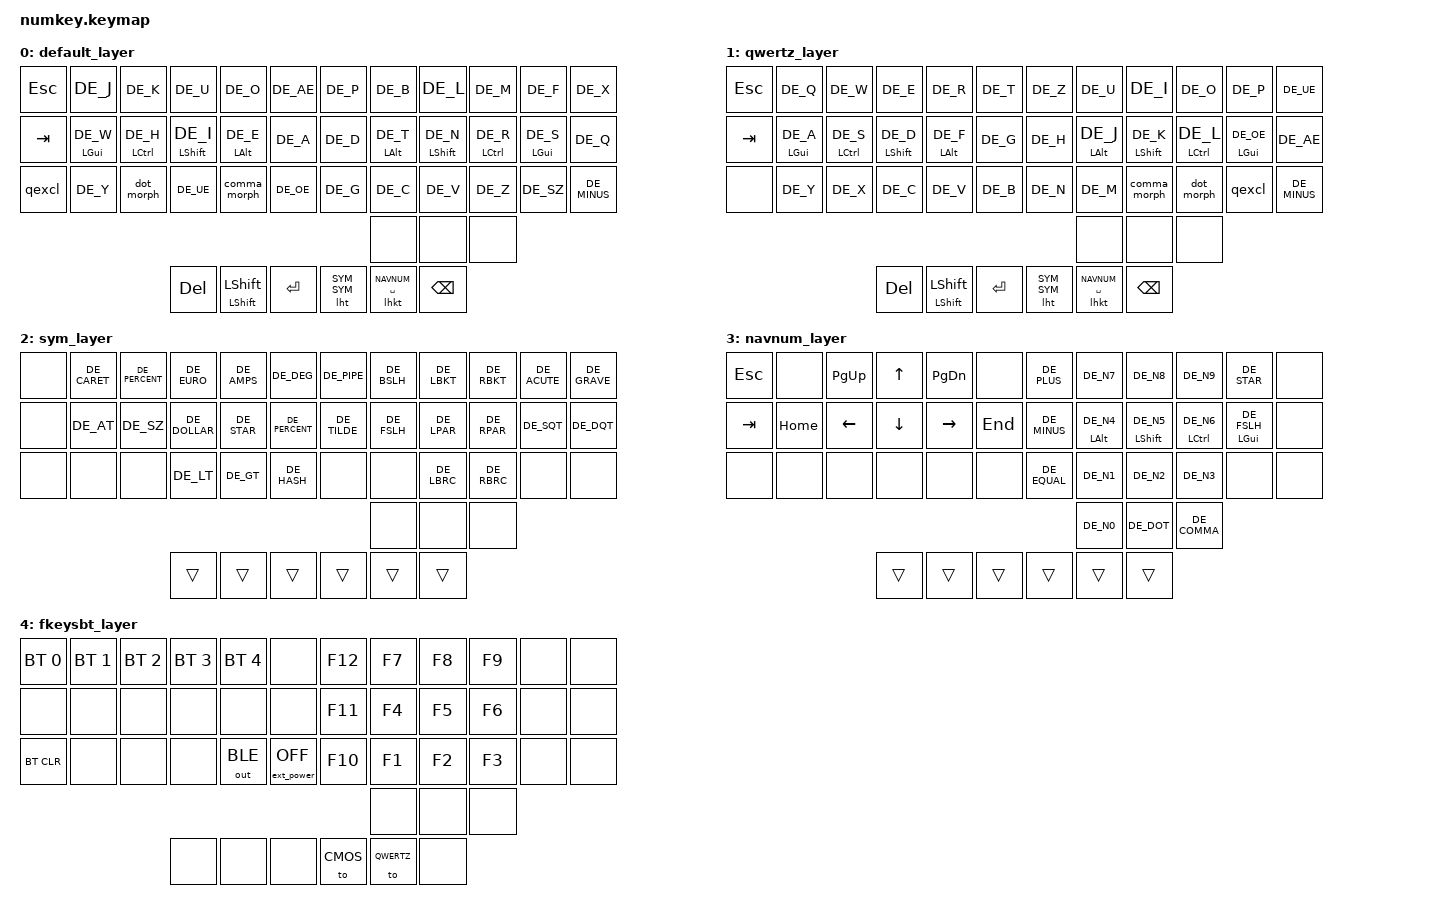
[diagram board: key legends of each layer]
/*trigger rebuild*/
#include <behaviors.dtsi>
#include <dt-bindings/zmk/bt.h>
#include <dt-bindings/zmk/ext_power.h>
#include <dt-bindings/zmk/outputs.h>
#include <dt-bindings/zmk/keys.h>

#ifndef KEYMAP_DRAWER
#include "keys_de.h"
#endif

#include "zmk-helpers/helper.h"
#include "numkey.h"

/* layer and key shortcuts */

#define ___ &trans
#define xxx &none

#define CMOS 0// layer shortcuts, must match order in which they are defined below
#define QWERTZ 1
#define SYM 2
#define NAVNUM 3
#define FKEYBT 4

/*Trigger Draw*/

/* custom behaviors */

/* Global settings */

#define QUICK_TAP_MS 175

&sk {  // sticky-key config
    release-after-ms = <3000>;  // release after 3s
    quick-release;             // no double capitalization when rolling keys
};

&sl {  // sticky-layer config
    release-after-ms = <3000>;
    ignore-modifiers;          // allow chording sticky mods & layers
};

&lt {  // layer-tap config
    flavor = "balanced";
    tapping-term-ms = <200>;
    quick-tap-ms = <QUICK_TAP_MS>;
};

/* Homerow mods */

#define KEYS_L LT0 LT1 LT2 LT3 LT4 LT5 LM0 LM1 LM2 LM3 LM4 LM5 LB0 LB1 LB2 LB3 LB4 LB5  // left hand
#define KEYS_R RT0 RT1 RT2 RT3 RT4 RT5 RM0 RM1 RM2 RM3 RM4 RM5 RB0 RB1 RB2 RB3 RB4 RB5 RN1 RN2 RN3// right hand
#define THUMBS LH2 LH1 LH0 RH0 RH1 RH2                                      // thumbs

ZMK_HOLD_TAP(hml,
    flavor = "balanced";
    tapping-term-ms = <200>;
    require-prior-idle-ms = <150>;
    hold-trigger-key-positions = <KEYS_R THUMBS>;
    hold-trigger-on-release;
    bindings = <&kp>, <&kp>;
)

ZMK_HOLD_TAP(hmr,
    flavor = "balanced";
    tapping-term-ms = <200>;
    require-prior-idle-ms = <150>;
    hold-trigger-key-positions = <KEYS_L THUMBS>;
    hold-trigger-on-release;
    bindings = <&kp>, <&kp>;
)

// tap: lht SYM SYM | double-tap: delete
ZMK_TAP_DANCE(sym_del,
    tapping-term-ms = <200>;
    bindings = <&lht SYM SYM>, <&kp DEL>;
)

/* Key Mods */

// tap: copy | double-tap: cut
ZMK_TAP_DANCE(copy_cut,
    tapping-term-ms = <200>;
    bindings = <&kp LC(INS)>, <&kp LC(X)>;
)

// tap: sticky key| hold: keypress
ZMK_BEHAVIOR(ht, hold_tap,
    flavor = "balanced";
    tapping-term-ms = <200>;
    quick-tap-ms = <QUICK_TAP_MS>;
    bindings = <&kp>, <&sk>;
)

// tap: sticky layer | hold: change layer
ZMK_BEHAVIOR(lht, hold_tap,
    flavor = "balanced";
    tapping-term-ms = <200>;
    quick-tap-ms = <QUICK_TAP_MS>;
    bindings = <&mo>, <&sl>;
)

ZMK_BEHAVIOR(lhkt, hold_tap,
    flavor = "balanced";
    tapping-term-ms = <200>;
    quick-tap-ms = <QUICK_TAP_MS>;
    bindings = <&mo>, <&kp>;
)

#define SIMPLE_MORPH(NAME, MOD, BINDING1, BINDING2) \
    ZMK_BEHAVIOR(NAME, mod_morph, \
        mods = <(MOD_L ## MOD|MOD_R ## MOD)>; \
        bindings = <BINDING1>, <BINDING2>; \
    )

// tap: backspace | shift + tap: delete
//ZMK_BEHAVIOR(bs_del, mod_morph,
//    bindings = <&kp BSPC>, <&kp DEL>;
//    mods = <(MOD_LSFT|MOD_RSFT)>;
///)

// tap: comma | shift + tap: semicolon
SIMPLE_MORPH(comma_morph, SFT, &kp DE_COMMA, &kp DE_SEMI)

// tap: dot | shift + tap: colon
SIMPLE_MORPH(dot_morph, SFT, &kp DE_DOT, &kp DE_COLON)

// tap: qmark | shift + tap: excl
SIMPLE_MORPH(qexcl, SFT, &kp DE_QMARK, &kp DE_EXCL)


// windows + right
ZMK_BEHAVIOR(winright, macro,
    bindings = <&macro_press &kp LGUI>, <&macro_tap &kp RIGHT>, <&macro_release &kp LGUI>;
)
// windows + left
ZMK_BEHAVIOR(winleft, macro,
    bindings = <&macro_press &kp LGUI>, <&macro_tap &kp LEFT>, <&macro_release &kp LGUI>;
)
// windows ctrl + right
ZMK_BEHAVIOR(winctrlright, macro,
    bindings = <&macro_press &kp LGUI>, <&macro_press &kp LCTRL>, <&macro_tap &kp RIGHT>, <&macro_release &kp LGUI>, <&macro_release &kp LCTRL>;
)
// windows ctrl + alt + 1
ZMK_BEHAVIOR(priosplit, macro,
    bindings = <&macro_press &kp LGUI>, <&macro_press &kp LCTRL>, <&macro_press &kp LALT>, <&macro_tap &kp DE_N1>, <&macro_release &kp LGUI>, <&macro_release &kp LCTRL>, <&macro_release &kp LALT>;
)
// windows ctrl + alt + 2
ZMK_BEHAVIOR(sharesplit, macro,
    bindings = <&macro_press &kp LGUI>, <&macro_press &kp LCTRL>, <&macro_press &kp LALT>, <&macro_tap &kp DE_N2>, <&macro_release &kp LGUI>, <&macro_release &kp LCTRL>, <&macro_release &kp LALT>;
)
// windows + ctrl
ZMK_BEHAVIOR(winctrlleft, macro,
    bindings = <&macro_press &kp LGUI>,<&macro_press &kp LCTRL>, <&macro_tap &kp LEFT>, <&macro_release &kp LGUI>, <&macro_release &kp LCTRL>;
)
// windows + paste
ZMK_BEHAVIOR(winpaste, macro,
    bindings = <&macro_press &kp LGUI>, <&macro_tap &kp DE_V>, <&macro_release &kp LGUI>;
)

// combos
//#undef COMBO_TERM
//#define COMBO_TERM 75  // timeout of 75ms (default is 30ms if omitted)

//ZMK_COMBO(combo_del, &kp DEL, LH2 LH1, QWERTZ CMOS)  // Del, active on all layers
ZMK_COMBO(combo_cut, &kp LC(DE_X), LB3 LB4, QWERTZ CMOS NAVNUM)  // Ctrl + X, active on all layers
ZMK_COMBO(combo_copy, &kp LC(DE_C), LB2 LB3, QWERTZ CMOS NAVNUM)  // Ctrl + C, active on all layers
ZMK_COMBO(combo_paste, &kp LC(DE_V), LB1 LB2, QWERTZ CMOS NAVNUM)  // Ctrl + V, active on all layers
ZMK_COMBO(combo_winpaste, &winpaste, LB0 LB1, QWERTZ CMOS)  // Win + V, active on all layers
ZMK_COMBO(combo_priosplit, &priosplit, RT1 RT2, QWERTZ CMOS)  // Win + CTRL + ALT + 1
ZMK_COMBO(combo_sharesplit, &sharesplit, RT2 RT3, QWERTZ CMOS)  // Win + CTRL + ALT + 2
//ZMK_COMBO(combo_winctrlleft,  &winctrlleft,  RT1 RT2, QWERTZ SYM NAVNUM CMOS)  // Win + CTRL + Left, active on all layers
//ZMK_COMBO(combo_winctrlright, &winctrlright, RT2 RT3, QWERTZ SYM NAVNUM CMOS)  // Win + CTRL + Right, active on all layers
ZMK_COMBO(combo_winright, &winright, LT2 LT3, QWERTZ SYM CMOS)  // Win + Right, active on all layers
ZMK_COMBO(combo_winleft, &winleft, LT1 LT2, QWERTZ SYM CMOS)  // Win + Left, active on all layers
ZMK_COMBO(combo_LT3, &to FKEYBT, RT4 RT5, QWERTZ CMOS)  //Always go to Layer FKEYS&BT
ZMK_COMBO(combo_del, &kp DEL, LH1 LH0, QWERTZ CMOS)
/* keymap */

ZMK_LAYER(default_layer,
    // ╭────────────────┬────────────────┬────────────────┬────────────────┬────────────────┬────────────────╮     ╭────────────────┬────────────────┬────────────────┬────────────────┬────────────────┬────────────────╮
        &kp ESC          &kp DE_J         &kp DE_K         &kp DE_U         &kp DE_O         &kp DE_AE              &kp DE_P         &kp DE_B         &kp DE_L         &kp DE_M         &kp DE_F        &kp DE_X
    // ├────────────────┬────────────────┼────────────────┼────────────────┼────────────────┼────────────────┤     ├────────────────┼────────────────┼────────────────┼────────────────┼────────────────┬────────────────┤
        &kp TAB          &hml LGUI DE_W   &hml LCTRL DE_H  &hml LSHFT DE_I  &hml LALT DE_E   &kp DE_A               &kp DE_D         &hmr LALT DE_T   &hmr LSHFT DE_N  &hmr LCTRL DE_R  &hmr LGUI DE_S   &kp DE_Q
    // ├────────────────┬────────────────┼────────────────┼────────────────┼────────────────┼────────────────┤     ├────────────────┼────────────────┼────────────────┼────────────────┼────────────────┬────────────────┤
        &qexcl           &kp DE_Y         &dot_morph       &kp DE_UE        &comma_morph     &kp DE_OE              &kp DE_G         &kp DE_C         &kp DE_V         &kp DE_Z         &kp DE_SZ        &kp DE_MINUS
    // ╰────────────────┬────────────────┼────────────────┼────────────────┼────────────────┼────────────────┤     ├────────────────┼────────────────┼────────────────┼────────────────┼────────────────┬────────────────╯
                                                                                                                                     xxx              xxx              xxx
    //                                                    ╰────────────────┼────────────────┼────────────────┤     ├────────────────┼────────────────┼────────────────┼────────────────╯
                                                            &kp DEL         &ht LSHFT LSHFT  &kp RET                &lht SYM SYM     &lhkt NAVNUM SPACE &kp BSPC
    //                                                    ╰────────────────┴────────────────┴────────────────╯     ╰────────────────┴────────────────┴────────────────╯    
)

ZMK_LAYER(qwertz_layer,
     // ╭────────────────┬────────────────┬────────────────┬────────────────┬────────────────┬────────────────╮     ╭────────────────┬────────────────┬────────────────┬────────────────┬────────────────┬────────────────╮
         &kp ESC          &kp DE_Q         &kp DE_W         &kp DE_E         &kp DE_R         &kp DE_T               &kp DE_Z         &kp DE_U         &kp DE_I         &kp DE_O         &kp DE_P         &kp DE_UE
     // ├────────────────┬────────────────┼────────────────┼────────────────┼────────────────┼────────────────┤     ├────────────────┼────────────────┼────────────────┼────────────────┼────────────────┬────────────────┤
         &kp TAB          &hml LGUI DE_A   &hml LCTRL DE_S  &hml LSHFT DE_D  &hml LALT DE_F   &kp DE_G               &kp DE_H         &hmr LALT DE_J   &hmr LSHFT DE_K  &hmr LCTRL DE_L  &hmr LGUI DE_OE  &kp DE_AE
     // ├────────────────┬────────────────┼────────────────┼────────────────┼────────────────┼────────────────┤     ├────────────────┼────────────────┼────────────────┼────────────────┼────────────────┬────────────────┤
         xxx              &kp DE_Y         &kp DE_X         &kp DE_C         &kp DE_V         &kp DE_B               &kp DE_N         &kp DE_M         &comma_morph     &dot_morph       &qexcl           &kp DE_MINUS
     // ╰────────────────┬────────────────┼────────────────┼────────────────┼────────────────┼────────────────┤     ├────────────────┼────────────────┼────────────────┼────────────────┼────────────────┬────────────────╯
                                                                                                                                      xxx              xxx              xxx
     //                                                    ╰────────────────┼────────────────┼────────────────┤     ├────────────────┼────────────────┼────────────────┼────────────────╯
                                                            &kp DEL         &ht LSHFT LSHFT  &kp RET                &lht SYM SYM      &lhkt NAVNUM SPACE &kp BSPC
     //                                                    ╰────────────────┴────────────────┴────────────────╯     ╰────────────────┴────────────────┴────────────────╯
)


ZMK_LAYER(sym_layer,
     // ╭─────────────┬─────────────┬─────────────┬─────────────┬─────────────┬─────────────╮   ╭─────────────┬─────────────┬─────────────┬─────────────┬─────────────┬─────────────╮
         xxx           &kp DE_CARET  &kp DE_PERCENT &kp DE_EURO  &kp DE_AMPS   &kp DE_DEG        &kp DE_PIPE   &kp DE_BSLH   &kp DE_LBKT   &kp DE_RBKT   &kp DE_ACUTE  &kp DE_GRAVE
     // ├─────────────┬─────────────┼─────────────┼─────────────┼─────────────┼─────────────┤   ├─────────────┼─────────────┼─────────────┼─────────────┼─────────────┬─────────────┤
         xxx           &kp DE_AT     &kp DE_SZ     &kp DE_DOLLAR &kp DE_STAR   &kp DE_PERCENT    &kp DE_TILDE  &kp DE_FSLH   &kp DE_LPAR   &kp DE_RPAR   &kp DE_SQT    &kp DE_DQT
     // ├─────────────┬─────────────┼─────────────┼─────────────┼─────────────┼─────────────┤   ├─────────────┼─────────────┼─────────────┼─────────────┼─────────────┬─────────────┤
         xxx           xxx           xxx           &kp DE_LT     &kp DE_GT     &kp DE_HASH       xxx           xxx           &kp DE_LBRC   &kp DE_RBRC   xxx           xxx
     // ╰─────────────┬─────────────┼─────────────┼─────────────┼─────────────┼─────────────┤   ├─────────────┼─────────────┼─────────────┼─────────────┼─────────────┬─────────────╯
                                                                                                               xxx           xxx           xxx
     //                                           ╰─────────────┼─────────────┼─────────────┤   ├─────────────┼─────────────┼─────────────┼─────────────╯
                                                   ___           ___           ___               ___           ___           ___
     //                                           ╰─────────────┴─────────────┴─────────────╯   ╰─────────────┴─────────────┴─────────────╯
)

ZMK_LAYER(navnum_layer,
     // ╭────────────────┬────────────────┬────────────────┬────────────────┬────────────────┬────────────────╮     ╭────────────────┬────────────────┬────────────────┬────────────────┬────────────────┬────────────────╮
          &kp ESC         xxx              &kp PG_UP        &kp UP           &kp PG_DN        xxx                    &kp DE_PLUS      &kp DE_N7        &kp DE_N8        &kp DE_N9        &kp DE_STAR      xxx
     // ├────────────────┬────────────────┼────────────────┼────────────────┼────────────────┼────────────────┤     ├────────────────┼────────────────┼────────────────┼────────────────┼────────────────┬────────────────┤
          &kp TAB         &kp HOME         &kp LEFT         &kp DOWN         &kp RIGHT        &kp END                &kp DE_MINUS     &hmr LALT DE_N4  &hmr LSHFT DE_N5 &hmr LCTRL DE_N6 &hmr LGUI DE_FSLH xxx
     // ├────────────────┬────────────────┼────────────────┼────────────────┼────────────────┼────────────────┤     ├────────────────┼────────────────┼────────────────┼────────────────┼────────────────┬────────────────┤
          xxx             xxx              xxx              xxx              xxx              xxx                    &kp DE_EQUAL     &kp DE_N1        &kp DE_N2        &kp DE_N3        xxx              xxx
     // ╰────────────────┬────────────────┼────────────────┼────────────────┼────────────────┼────────────────┤     ├────────────────┼────────────────┼────────────────┼────────────────┼────────────────┬────────────────╯
                                                                                                                                      &kp DE_N0        &kp DE_DOT       &kp DE_COMMA
     //                                                    ╰────────────────┼────────────────┼────────────────┤     ├────────────────┼────────────────┼────────────────┼────────────────╯
                                                            ___              ___              ___                    ___              ___              ___
     //                                                    ╰────────────────┴────────────────┴────────────────╯     ╰────────────────┴────────────────┴────────────────╯
)

ZMK_LAYER(fkeysbt_layer,
     // ╭─────────────┬─────────────┬─────────────┬─────────────┬─────────────┬─────────────╮     ╭─────────────┬─────────────┬─────────────┬─────────────┬─────────────┬─────────────╮
         &bt BT_SEL 0  &bt BT_SEL 1  &bt BT_SEL 2  &bt BT_SEL 3  &bt BT_SEL 4  xxx                 &kp F12       &kp F7        &kp F8        &kp F9        xxx           xxx
     // ├─────────────┬─────────────┼─────────────┼─────────────┼─────────────┼─────────────┤     ├─────────────┼─────────────┼─────────────┼─────────────┼─────────────┬─────────────┤
         xxx           xxx           xxx           xxx           xxx           xxx                 &kp F11       &kp F4        &kp F5        &kp F6        xxx           xxx
     // ├─────────────┬─────────────┼─────────────┼─────────────┼─────────────┼─────────────┤     ├─────────────┼─────────────┼─────────────┼─────────────┼─────────────┬─────────────┤
         &bt BT_CLR    xxx           xxx           xxx           &out OUT_BLE  &ext_power EP_OFF   &kp F10       &kp F1        &kp F2        &kp F3        xxx           xxx
     // ╰─────────────┬─────────────┼─────────────┼─────────────┼─────────────┼─────────────┤     ├─────────────┼─────────────┼─────────────┼─────────────┼─────────────┬─────────────╯
                                                                                                                 xxx           xxx           xxx
     //                                           ╰─────────────┼─────────────┼─────────────┤     ├─────────────┼─────────────┼─────────────┼─────────────╯
                                                   xxx           xxx           xxx                 &to CMOS      &to QWERTZ    xxx
     //                                           ╰─────────────┴─────────────┴─────────────╯     ╰─────────────┴─────────────┴─────────────╯
)

/*
ZMK_LAYER(noted_layer,
     // ╭────────────────┬────────────────┬────────────────┬────────────────┬────────────────┬────────────────╮     ╭────────────────┬────────────────┬────────────────┬────────────────┬────────────────┬────────────────╮
         &kp ESC          &kp DE_Z         &kp DE_Y         &kp DE_U         &kp DE_A         &kp DE_Q               &kp DE_P         &kp DE_B         &kp DE_M         &kp DE_L         &kp DE_F         &kp DE_J
     // ├────────────────┬────────────────┼────────────────┼────────────────┼────────────────┼────────────────┤     ├────────────────┼────────────────┼────────────────┼────────────────┼────────────────┬────────────────┤
         &kp TAB          &hml LGUI DE_C   &hml LCTRL DE_S  &hml LSHFT DE_I  &hml LALT DE_E   &kp DE_O               &kp DE_D         &hmr LALT DE_T   &hmr LSHFT DE_N  &hmr LCTRL DE_R  &hmr LGUI DE_H   &kp DE_SZ
     // ├────────────────┬────────────────┼────────────────┼────────────────┼────────────────┼────────────────┤     ├────────────────┼────────────────┼────────────────┼────────────────┼────────────────┬────────────────┤
         &kp DE_MINUS     &kp DE_V         &kp DE_X         &kp DE_UE        &kp DE_AE        &kp DE_OE              &kp DE_W         &kp DE_G         &comma_morph     &dot_morph       &kp DE_K         &qexcl
     // ╰────────────────┬────────────────┼────────────────┼────────────────┼────────────────┼────────────────┤     ├────────────────┼────────────────┼────────────────┼────────────────┼────────────────┬────────────────╯
                                                            ___              ___              ___                    ___              ___              ___             
     //                                                    ╰────────────────┴────────────────┴────────────────╯     ╰────────────────┴────────────────┴────────────────╯
)

ZMK_LAYER(koy_layer,
     // ╭────────────────┬────────────────┬────────────────┬────────────────┬────────────────┬────────────────╮     ╭────────────────┬────────────────┬────────────────┬────────────────┬────────────────┬────────────────╮
         &kp ESC          &kp DE_K         &dot_morph       &kp DE_O         &comma_morph     &kp DE_Y               &kp DE_V         &kp DE_G         &kp DE_C         &kp DE_L         &kp DE_F         &kp DE_Z
     // ├────────────────┬────────────────┼────────────────┼────────────────┼────────────────┼────────────────┤     ├────────────────┼────────────────┼────────────────┼────────────────┼────────────────┬────────────────┤
         &kp TAB          &hml LGUI DE_H   &hml LCTRL DE_A  &hml LSHFT DE_E  &hml LALT DE_I   &kp DE_U               &kp DE_D         &hmr LALT DE_T   &hmr LSHFT DE_R  &hmr LCTRL DE_N  &hmr LGUI DE_S   &kp DE_SZ
     // ├────────────────┬────────────────┼────────────────┼────────────────┼────────────────┼────────────────┤     ├────────────────┼────────────────┼────────────────┼────────────────┼────────────────┬────────────────┤
         &kp DE_MINUS     &kp DE_X         &kp DE_Q         &kp DE_AE        &kp DE_UE        &kp DE_OE              &kp DE_B         &kp DE_P         &kp DE_W         &kp DE_M         &kp DE_J         &qexcl
     // ╰────────────────┬────────────────┼────────────────┼────────────────┼────────────────┼────────────────┤     ├────────────────┼────────────────┼────────────────┼────────────────┼────────────────┬────────────────╯
                                                            ___              ___              ___                    ___              ___              ___             
     //                                                    ╰────────────────┴────────────────┴────────────────╯     ╰────────────────┴────────────────┴────────────────╯   
)

ZMK_LAYER(xoy_layer,
     // ╭────────────────┬────────────────┬────────────────┬────────────────┬────────────────┬────────────────╮     ╭────────────────┬────────────────┬────────────────┬────────────────┬────────────────┬────────────────╮
         &kp ESC          &kp DE_X         &dot_morph       &kp DE_O         &comma_morph     &kp DE_Y               &kp DE_P         &kp DE_F         &kp DE_S         &kp DE_L         &kp DE_W         &kp DE_Q
     // ├────────────────┬────────────────┼────────────────┼────────────────┼────────────────┼────────────────┤     ├────────────────┼────────────────┼────────────────┼────────────────┼────────────────┬────────────────┤
         &kp TAB          &hml LGUI DE_C   &hml LCTRL DE_A  &hml LSHFT DE_E  &hml LALT DE_I   &kp DE_U               &kp DE_D         &hmr LALT DE_T   &hmr LSHFT DE_N  &hmr LCTRL DE_R  &hmr LGUI DE_H   &kp DE_SZ
     // ├────────────────┬────────────────┼────────────────┼────────────────┼────────────────┼────────────────┤     ├────────────────┼────────────────┼────────────────┼────────────────┼────────────────┬────────────────┤
         &kp DE_MINUS     &kp DE_Z         &kp DE_AE        &kp DE_OE        &kp DE_V         &kp DE_UE              &kp DE_B         &kp DE_G         &kp DE_J         &kp DE_M         &kp DE_K         &qexcl
     // ╰────────────────┬────────────────┼────────────────┼────────────────┼────────────────┼────────────────┤     ├────────────────┼────────────────┼────────────────┼────────────────┼────────────────┬────────────────╯
                                                            ___              ___              ___                    ___              ___              ___             
     //                                                    ╰────────────────┴────────────────┴────────────────╯     ╰────────────────┴────────────────┴────────────────╯
)
*/

//trigger rebuild
//trigger rebuild
